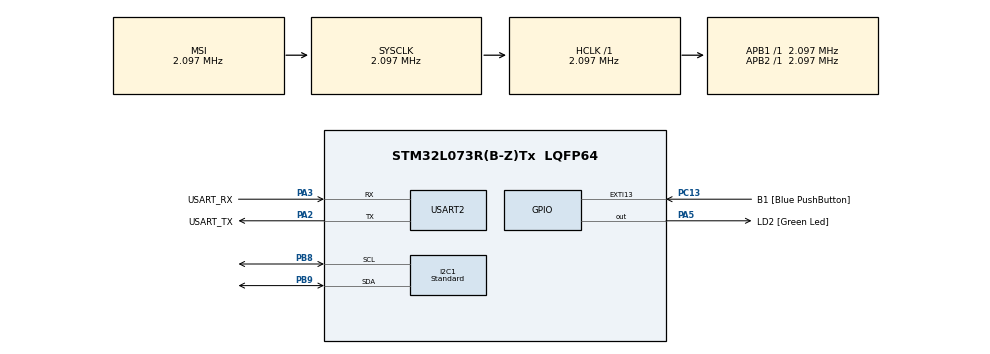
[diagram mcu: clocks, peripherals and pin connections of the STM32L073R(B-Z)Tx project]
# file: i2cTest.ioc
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I2C1.I2C_Speed_Mode=I2C_Standard
I2C1.Timing=0x00000608
Mcu.Family=STM32L0
Mcu.Name=STM32L073R(B-Z)Tx
Mcu.Package=LQFP64
PA13.GPIO_Label=TMS
PA13.Mode=Serial_Wire
PA13.Signal=SYS_SWDIO
PA14.GPIO_Label=TCK
PA14.Mode=Serial_Wire
PA14.Signal=SYS_SWCLK
PA2.GPIO_Label=USART_TX
PA2.Mode=Asynchronous
PA2.Signal=USART2_TX
PA3.GPIO_Label=USART_RX
PA3.Mode=Asynchronous
PA3.Signal=USART2_RX
PA5.GPIO_Label=LD2 [Green Led]
PA5.Signal=GPIO_Output
PB8.Mode=I2C
PB8.Signal=I2C1_SCL
PB9.Mode=I2C
PB9.Signal=I2C1_SDA
PC13.GPIO_Label=B1 [Blue PushButton]
PC13.GPIO_ModeDefaultEXTI=GPIO_MODE_IT_FALLING
PC13.Signal=GPXTI13
PC14-OSC32_IN.Mode=LSE-External-Oscillator
PC14-OSC32_IN.Signal=RCC_OSC32_IN
PC15-OSC32_OUT.Mode=LSE-External-Oscillator
PC15-OSC32_OUT.Signal=RCC_OSC32_OUT
PH0-OSC_IN.GPIO_Label=MCO
PH0-OSC_IN.Mode=HSE-External-Clock-Source
PH0-OSC_IN.Signal=RCC_OSC_IN
ProjectManager.HeapSize=0x200
ProjectManager.StackSize=0x400
ProjectManager.TargetToolchain=STM32CubeIDE
RCC.AHBFreq_Value=2097000
RCC.APB1Freq_Value=2097000
RCC.APB1TimFreq_Value=2097000
RCC.APB2Freq_Value=2097000
RCC.APB2TimFreq_Value=2097000
RCC.HSE_VALUE=8000000
RCC.HSI16_VALUE=16000000
RCC.HSI48_VALUE=48000000
RCC.HSI_VALUE=16000000
RCC.MSI_VALUE=2097000
RCC.SYSCLKFreq_VALUE=2097000
RCC.VCOOutputFreq_Value=48000000
USART2.VirtualMode-Asynchronous=VM_ASYNC
board=NUCLEO-L073RZ

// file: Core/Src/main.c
/* USER CODE BEGIN Header */
/**
  ******************************************************************************
  * @file           : main.c
  * @brief          : Main program body
  ******************************************************************************
  * @attention
  *
  * Copyright (c) 2026 STMicroelectronics.
  * All rights reserved.
  *
  * This software is licensed under terms that can be found in the LICENSE file
  * in the root directory of this software component.
  * If no LICENSE file comes with this software, it is provided AS-IS.
  *
  ******************************************************************************
  */
/* USER CODE END Header */
#include "main.h"

/* USER CODE BEGIN Includes */

#include <stdio.h>
#include <unistd.h>
#include <math.h>

/* USER CODE END Includes */

I2C_HandleTypeDef hi2c1;

UART_HandleTypeDef huart2;

/* USER CODE BEGIN PV */

int16_t ax, ay, az;
float gx, gy, gz;

float speed = 0;

int16_t ox, oy, oz;
float ox_dps, oy_dps, oz_dps;

float deg_x, deg_y, deg_z;

float pitch, roll;

/* USER CODE END PV */

void SystemClock_Config(void);
static void MX_GPIO_Init(void);
static void MX_USART2_UART_Init(void);
static void MX_I2C1_Init(void);

/* USER CODE BEGIN 0 */

void MPU6050_Init(I2C_HandleTypeDef *hi2c)
{
    uint8_t data = 0;

    // Sortir du mode sleep
    HAL_I2C_Mem_Write(hi2c, 0x68 << 1, 0x6B,
                      I2C_MEMADD_SIZE_8BIT, &data, 1, HAL_MAX_DELAY);
}

void MPU6050_Read_Accel(I2C_HandleTypeDef *hi2c,
                        int16_t *ax, int16_t *ay, int16_t *az)
{
    uint8_t buffer[6];

    HAL_I2C_Mem_Read(hi2c, 0x68 << 1, 0x3B,
                     I2C_MEMADD_SIZE_8BIT, buffer, 6, HAL_MAX_DELAY);

    *ax = (int16_t)(buffer[0] << 8 | buffer[1]);
    *ay = (int16_t)(buffer[2] << 8 | buffer[3]);
    *az = (int16_t)(buffer[4] << 8 | buffer[5]);

}

void MPU6050_Accel_To_g(int16_t ax, int16_t ay, int16_t az,
                        float *gx, float *gy, float *gz)
{
    *gx = ax / 16384.0f;
    *gy = ay / 16384.0f;
    *gz = az / 16384.0f;

//    printf("accel = %.2f %.2f %.2f\r\n", *gx, *gy, *gz);

}

void CalculeAngle(float *gx, float *gy, float *gz){

	roll = atan2(*gy, *gz) * 180.0f/M_PI;
	pitch = atan2(-(*gx), sqrt((*gy)*(*gy) + (*gz)*(*gz))) * 180.0f / M_PI;
}

/////////////////////////GYRO/////////////////////////

void MPU6050_Read_Gyro(I2C_HandleTypeDef *hi2c,
                       int16_t *ox, int16_t *oy, int16_t *oz)
{
    uint8_t buffer[6];

    HAL_I2C_Mem_Read(hi2c, 0x68 << 1, 0x43,
                     I2C_MEMADD_SIZE_8BIT, buffer, 6, HAL_MAX_DELAY);

    *ox = (int16_t)(buffer[0] << 8 | buffer[1]);
    *oy = (int16_t)(buffer[2] << 8 | buffer[3]);
    *oz = (int16_t)(buffer[4] << 8 | buffer[5]);
}

void MPU6050_Gyro_To_dps(int16_t ox, int16_t oy, int16_t oz,
                         float *x, float *y, float *z)
{
    *x = ox / 131.0;
    *y = oy / 131.0;
    *z = oz / 131.0;

    if(fabs(*x)<0.5) *x=0;
	if(fabs(*y)<0.5) *y=0;
	if(fabs(*z)<0.5) *z=0;
}

#include <math.h>

void calculPitchRoll(float gx, float gy, float gz, float *pitch, float *roll)
{
    // Roll : rotation autour de X
    *roll = atan2f(gy, gz) * 180.0f / M_PI;

    // Pitch : rotation autour de Y
    *pitch = atan2f(-gx, sqrtf(gy*gy + gz*gz)) * 180.0f / M_PI;
}

///////////////////////////////////////////calcule///////////////////////////

void AnnuleGrav(float pitch, float roll, float *gx, float *gy, float *gz){
	float gravX, gravY,gravZ;

	gravX = -sin(pitch);
	gravY = sin(roll)*cos(pitch);
	gravZ = cos(pitch)*cos(roll);

	*gx -= gravX;
	*gy -= gravY;
	*gz -= gravZ;
}

void CalculSpeed(float *gx, float *gy, float *gz){

	speed = speed + *gy * 1/120;

}

void clearTerminal()
{
  const char *CLEAR_SCREEN_ANSI = "\e[1;1H\e[2J";
  write(STDOUT_FILENO, CLEAR_SCREEN_ANSI, 12);
}

/* USER CODE END 0 */

int main(void)
{

  /* MCU Configuration--------------------------------------------------------*/

  /* Reset of all peripherals, Initializes the Flash interface and the Systick. */
  HAL_Init();

  /* Configure the system clock */
  SystemClock_Config();

  /* Initialize all configured peripherals */
  MX_GPIO_Init();
  MX_USART2_UART_Init();
  MX_I2C1_Init();
  /* USER CODE BEGIN 2 */

  MPU6050_Init(&hi2c1);

  /* USER CODE END 2 */

  /* Infinite loop */
  /* USER CODE BEGIN WHILE */
  while (1)
  {

	  MPU6050_Read_Accel(&hi2c1, &ax, &ay, &az);
	  MPU6050_Accel_To_g(ax, ay, az, &gx, &gy, &gz);

	  MPU6050_Read_Gyro(&hi2c1, &ox, &oy, &oz);
	  MPU6050_Gyro_To_dps(ox, oy, oz, &ox_dps, &oy_dps, &oz_dps);

	  calculPitchRoll(gx, gy, gz, &pitch, &roll);

	  AnnuleGrav(pitch, roll, &gx, &gy, &gz);

	  CalculSpeed(&gx, &gy, &gz);

	  //test//

	  if(fabs(gy)<0.1) gy=0;
	  if(fabs(gx)<0.1) gx=0;
	  if(fabs(gz)<0.1) gz=0;

	  printf("accel = %.3f %.3f %.3f   %.3f %.3f\r\n", oy_dps, oy_dps, oz_dps, roll, pitch);
//	  printf("or = %.3f %.3f\r\n", roll, pitch);

	  HAL_Delay(8); // ~8 ms

    /* USER CODE END WHILE */

  }
}

void SystemClock_Config(void)
{
  RCC_OscInitTypeDef RCC_OscInitStruct = {0};
  RCC_ClkInitTypeDef RCC_ClkInitStruct = {0};
  RCC_PeriphCLKInitTypeDef PeriphClkInit = {0};

  /** Configure the main internal regulator output voltage
  */
  __HAL_PWR_VOLTAGESCALING_CONFIG(PWR_REGULATOR_VOLTAGE_SCALE1);

  /** Initializes the RCC Oscillators according to the specified parameters
  * in the RCC_OscInitTypeDef structure.
  */
  RCC_OscInitStruct.OscillatorType = RCC_OSCILLATORTYPE_MSI;
  RCC_OscInitStruct.MSIState = RCC_MSI_ON;
  RCC_OscInitStruct.MSICalibrationValue = 0;
  RCC_OscInitStruct.MSIClockRange = RCC_MSIRANGE_5;
  RCC_OscInitStruct.PLL.PLLState = RCC_PLL_NONE;
  if (HAL_RCC_OscConfig(&RCC_OscInitStruct) != HAL_OK)
  {
    Error_Handler();
  }

  /** Initializes the CPU, AHB and APB buses clocks
  */
  RCC_ClkInitStruct.ClockType = RCC_CLOCKTYPE_HCLK|RCC_CLOCKTYPE_SYSCLK
                              |RCC_CLOCKTYPE_PCLK1|RCC_CLOCKTYPE_PCLK2;
  RCC_ClkInitStruct.SYSCLKSource = RCC_SYSCLKSOURCE_MSI;
  RCC_ClkInitStruct.AHBCLKDivider = RCC_SYSCLK_DIV1;
  RCC_ClkInitStruct.APB1CLKDivider = RCC_HCLK_DIV1;
  RCC_ClkInitStruct.APB2CLKDivider = RCC_HCLK_DIV1;

  if (HAL_RCC_ClockConfig(&RCC_ClkInitStruct, FLASH_LATENCY_0) != HAL_OK)
  {
    Error_Handler();
  }
  PeriphClkInit.PeriphClockSelection = RCC_PERIPHCLK_USART2|RCC_PERIPHCLK_I2C1;
  PeriphClkInit.Usart2ClockSelection = RCC_USART2CLKSOURCE_PCLK1;
  PeriphClkInit.I2c1ClockSelection = RCC_I2C1CLKSOURCE_PCLK1;
  if (HAL_RCCEx_PeriphCLKConfig(&PeriphClkInit) != HAL_OK)
  {
    Error_Handler();
  }
}

static void MX_I2C1_Init(void)
{

  hi2c1.Instance = I2C1;
  hi2c1.Init.Timing = 0x00000608;
  hi2c1.Init.OwnAddress1 = 0;
  hi2c1.Init.AddressingMode = I2C_ADDRESSINGMODE_7BIT;
  hi2c1.Init.DualAddressMode = I2C_DUALADDRESS_DISABLE;
  hi2c1.Init.OwnAddress2 = 0;
  hi2c1.Init.OwnAddress2Masks = I2C_OA2_NOMASK;
  hi2c1.Init.GeneralCallMode = I2C_GENERALCALL_DISABLE;
  hi2c1.Init.NoStretchMode = I2C_NOSTRETCH_DISABLE;
  if (HAL_I2C_Init(&hi2c1) != HAL_OK)
  {
    Error_Handler();
  }

  /** Configure Analogue filter
  */
  if (HAL_I2CEx_ConfigAnalogFilter(&hi2c1, I2C_ANALOGFILTER_ENABLE) != HAL_OK)
  {
    Error_Handler();
  }

  /** Configure Digital filter
  */
  if (HAL_I2CEx_ConfigDigitalFilter(&hi2c1, 0) != HAL_OK)
  {
    Error_Handler();
  }

}

static void MX_USART2_UART_Init(void)
{

  huart2.Instance = USART2;
  huart2.Init.BaudRate = 115200;
  huart2.Init.WordLength = UART_WORDLENGTH_8B;
  huart2.Init.StopBits = UART_STOPBITS_1;
  huart2.Init.Parity = UART_PARITY_NONE;
  huart2.Init.Mode = UART_MODE_TX_RX;
  huart2.Init.HwFlowCtl = UART_HWCONTROL_NONE;
  huart2.Init.OverSampling = UART_OVERSAMPLING_16;
  huart2.Init.OneBitSampling = UART_ONE_BIT_SAMPLE_DISABLE;
  huart2.AdvancedInit.AdvFeatureInit = UART_ADVFEATURE_NO_INIT;
  if (HAL_UART_Init(&huart2) != HAL_OK)
  {
    Error_Handler();
  }

}

static void MX_GPIO_Init(void)
{
  GPIO_InitTypeDef GPIO_InitStruct = {0};

  /* GPIO Ports Clock Enable */
  __HAL_RCC_GPIOC_CLK_ENABLE();
  __HAL_RCC_GPIOH_CLK_ENABLE();
  __HAL_RCC_GPIOA_CLK_ENABLE();
  __HAL_RCC_GPIOB_CLK_ENABLE();

  /*Configure GPIO pin Output Level */
  HAL_GPIO_WritePin(LD2_GPIO_Port, LD2_Pin, GPIO_PIN_RESET);

  /*Configure GPIO pin : B1_Pin */
  GPIO_InitStruct.Pin = B1_Pin;
  GPIO_InitStruct.Mode = GPIO_MODE_IT_FALLING;
  GPIO_InitStruct.Pull = GPIO_NOPULL;
  HAL_GPIO_Init(B1_GPIO_Port, &GPIO_InitStruct);

  /*Configure GPIO pin : LD2_Pin */
  GPIO_InitStruct.Pin = LD2_Pin;
  GPIO_InitStruct.Mode = GPIO_MODE_OUTPUT_PP;
  GPIO_InitStruct.Pull = GPIO_NOPULL;
  GPIO_InitStruct.Speed = GPIO_SPEED_FREQ_LOW;
  HAL_GPIO_Init(LD2_GPIO_Port, &GPIO_InitStruct);

}

/* USER CODE BEGIN 4 */

int __io_putchar(int ch)
{
	/* Custom implementation of fputc here */
	HAL_UART_Transmit(&huart2, (uint8_t *)&ch, 1, 0xFFFF);
	return ch;
}

/* USER CODE END 4 */

void Error_Handler(void)
{
  __disable_irq();
  while (1)
  {
  }
}
